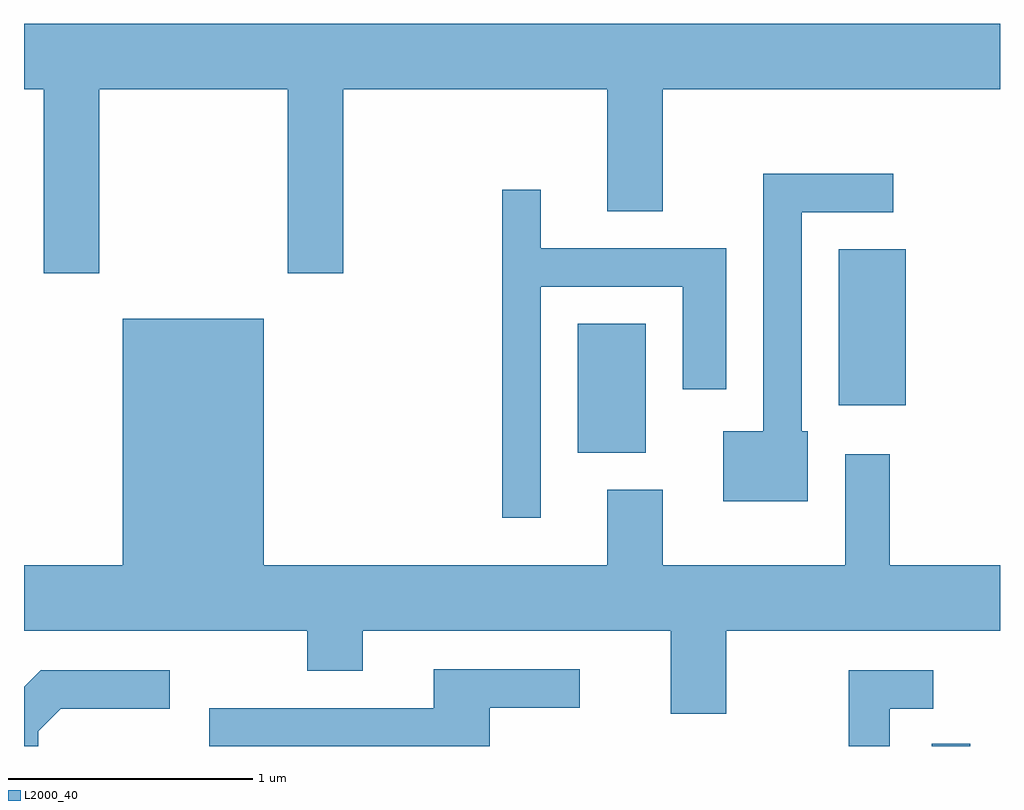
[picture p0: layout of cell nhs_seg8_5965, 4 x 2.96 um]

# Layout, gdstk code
import gdstk
lib = gdstk.Library(unit=1e-6, precision=1e-09)
def R(c, l, rs):  # rectangles x0, y0, x1, y1
    for r in rs: c.add(gdstk.rectangle(r[:2], r[2:], *l))
def P(c, l, *ps):  # polygons
    for p in ps: c.add(gdstk.Polygon(p, *l))
L2000_40 = (2000, 40)

nhs_seg8_5965 = lib.new_cell('nhs_seg8_5965')
R(nhs_seg8_5965, L2000_40, [(367.331,1880.342,367.489,1880.353), (365.881,1881.546,366.159,1882.074), (366.951,1881.741,367.224,1882.379)])
P(nhs_seg8_5965, L2000_40, [(363.919,1883.036),(364.691,1883.036),(364.691,1882.281),(364.919,1882.281),(364.919,1883.036),(366.001,1883.036),(366.001,1882.536),(366.229,1882.536),(366.229,1883.036),(367.611,1883.036),(367.611,1883.304),(363.611,1883.304),(363.611,1883.036),(363.691,1883.036),(363.691,1882.281),(363.919,1882.281)],
  [(366.824,1881.634),(366.799,1881.634),(366.799,1882.531),(367.173,1882.531),(367.173,1882.689),(366.641,1882.689),(366.641,1881.634),(366.476,1881.634),(366.476,1881.346),(366.824,1881.346)],
  [(365.729,1882.226),(366.311,1882.226),(366.311,1881.806),(366.489,1881.806),(366.489,1882.384),(365.729,1882.384),(365.729,1882.623),(365.571,1882.623),(365.571,1881.278),(365.729,1881.278)],
  [(366.489,1880.816),(367.611,1880.816),(367.611,1881.084),(367.159,1881.084),(367.159,1881.539),(366.976,1881.539),(366.976,1881.084),(366.229,1881.084),(366.229,1881.394),(366.001,1881.394),(366.001,1881.084),(364.594,1881.084),(364.594,1882.094),(364.016,1882.094),(364.016,1881.084),(363.611,1881.084),(363.611,1880.816),(364.771,1880.816),(364.771,1880.651),(364.999,1880.651),(364.999,1880.816),(366.261,1880.816),(366.261,1880.476),(366.489,1880.476)],
  [(365.519,1880.501),(365.888,1880.501),(365.888,1880.659),(365.291,1880.659),(365.291,1880.499),(364.371,1880.499),(364.371,1880.342),(365.519,1880.342)],
  [(363.669,1880.404),(363.762,1880.496),(364.208,1880.496),(364.208,1880.654),(363.679,1880.654),(363.611,1880.586),(363.611,1880.342),(363.669,1880.342)],
  [(367.159,1880.496),(367.338,1880.496),(367.338,1880.654),(366.991,1880.654),(366.991,1880.342),(367.159,1880.342)])

lib.write_gds('nhs_seg8_5965.gds')
